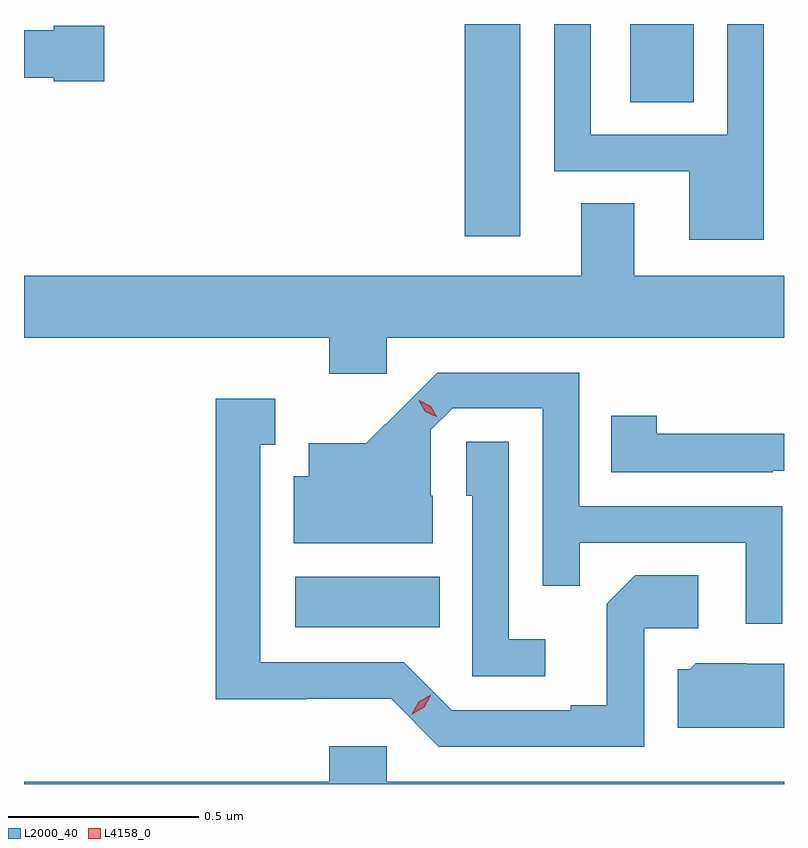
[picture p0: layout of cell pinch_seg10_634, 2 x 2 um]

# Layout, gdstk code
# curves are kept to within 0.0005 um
import gdstk
lib = gdstk.Library(unit=1e-6, precision=1e-09)
def R(c, l, rs):  # rectangles x0, y0, x1, y1
    for r in rs: c.add(gdstk.rectangle(r[:2], r[2:], *l))
def P(c, l, *ps):  # polygons
    for p in ps: c.add(gdstk.Polygon(p, *l))
L2000_40 = (2000, 40)
L4158_0 = (4158, 0)

pinch_seg10_634 = lib.new_cell('pinch_seg10_634')
R(pinch_seg10_634, L2000_40, [(350.718,1280.906,351.098,1281.04), (351.164,1281.936,351.31,1282.494), (351.599,1282.288,351.766,1282.494)])
P(pinch_seg10_634, L2000_40, [(351.951,1282.494),(351.855,1282.494),(351.855,1282.203),(351.495,1282.203),(351.495,1282.494),(351.399,1282.494),(351.399,1282.107),(351.755,1282.107),(351.755,1281.926),(351.951,1281.926)],
  [(350.215,1282.49),(350.082,1282.49),(350.082,1282.477),(350.004,1282.477),(350.004,1282.352),(350.082,1282.352),(350.082,1282.343),(350.215,1282.343)],
  [(350.958,1281.668),(352.004,1281.668),(352.004,1281.832),(351.61,1281.832),(351.61,1282.022),(351.47,1282.022),(351.47,1281.832),(350.004,1281.832),(350.004,1281.668),(350.807,1281.668),(350.807,1281.573),(350.958,1281.573)],
  [(351.999,1281.225),(351.465,1281.225),(351.465,1281.576),(351.092,1281.576),(350.905,1281.391),(350.753,1281.391),(350.753,1281.304),(350.714,1281.304),(350.714,1281.128),(351.079,1281.128),(351.079,1281.252),(351.075,1281.252),(351.075,1281.426),(351.132,1281.483),(351.369,1281.483),(351.369,1281.016),(351.467,1281.016),(351.467,1281.129),(351.903,1281.129),(351.903,1280.916),(351.999,1280.916)],
  [(351.636,1280.904),(351.778,1280.904),(351.778,1281.044),(351.613,1281.044),(351.537,1280.968),(351.537,1280.701),(351.443,1280.701),(351.443,1280.688),(351.129,1280.688),(351.003,1280.814),(350.626,1280.814),(350.626,1281.387),(350.665,1281.387),(350.665,1281.508),(350.508,1281.508),(350.508,1280.717),(350.748,1280.717),(350.748,1280.718),(350.97,1280.718),(351.096,1280.592),(351.636,1280.592)],
  [(351.974,1281.318),(352.004,1281.318),(352.004,1281.416),(351.669,1281.416),(351.669,1281.463),(351.55,1281.463),(351.55,1281.315),(351.974,1281.315)],
  [(351.376,1280.875),(351.279,1280.875),(351.279,1281.395),(351.168,1281.395),(351.168,1281.252),(351.183,1281.252),(351.183,1280.778),(351.376,1280.778)],
  [(352.004,1280.811),(351.906,1280.811),(351.906,1280.812),(351.772,1280.812),(351.756,1280.796),(351.725,1280.796),(351.725,1280.642),(352.004,1280.642)],
  [(352.004,1280.5),(350.958,1280.5),(350.958,1280.593),(350.807,1280.593),(350.807,1280.5),(350.004,1280.5),(350.004,1280.494),(352.004,1280.494)])
P(pinch_seg10_634, L4158_0, [(351.091,1281.459),(351.06,1281.474),(351.043,1281.504),(351.043,1281.504),(351.044,1281.504),(351.074,1281.488),(351.091,1281.459),(351.091,1281.459)],
  [(351.025,1280.677),(351.025,1280.677),(351.043,1280.71),(351.075,1280.729),(351.075,1280.729),(351.075,1280.728),(351.057,1280.696),(351.026,1280.677)])

lib.write_gds('pinch_seg10_634.gds')
